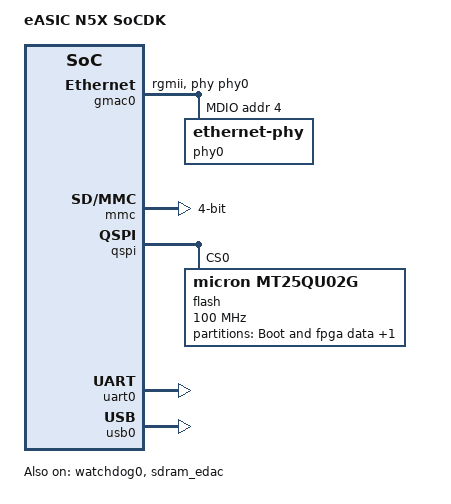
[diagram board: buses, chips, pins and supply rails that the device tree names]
// SPDX-License-Identifier:     GPL-2.0
/*
 * Copyright (C) 2021, Intel Corporation
 */
#include "socfpga_agilex.dtsi"

/ {
	model = "eASIC N5X SoCDK";
	compatible = "intel,n5x-socdk", "intel,socfpga-agilex";

	aliases {
		serial0 = &uart0;
		ethernet0 = &gmac0;
		ethernet1 = &gmac1;
		ethernet2 = &gmac2;
	};

	chosen {
		stdout-path = "serial0:115200n8";
	};

	memory@80000000 {
		device_type = "memory";
		/* We expect the bootloader to fill in the reg */
		reg = <0 0x80000000 0 0>;
	};

	soc {
		sdram_edac: memory-controller@f87f8000 {
			compatible = "snps,ddrc-3.80a";
			reg = <0xf87f8000 0x400>;
			interrupts = <0 175 4>;
			status = "okay";
		};
	};
};

&clkmgr {
	compatible = "intel,easic-n5x-clkmgr";
};

&gmac0 {
	status = "okay";
	phy-mode = "rgmii";
	phy-handle = <&phy0>;

	max-frame-size = <9000>;

	mdio0 {
		#address-cells = <1>;
		#size-cells = <0>;
		compatible = "snps,dwmac-mdio";
		phy0: ethernet-phy@0 {
			reg = <4>;

			txd0-skew-ps = <0>; /* -420ps */
			txd1-skew-ps = <0>; /* -420ps */
			txd2-skew-ps = <0>; /* -420ps */
			txd3-skew-ps = <0>; /* -420ps */
			rxd0-skew-ps = <420>; /* 0ps */
			rxd1-skew-ps = <420>; /* 0ps */
			rxd2-skew-ps = <420>; /* 0ps */
			rxd3-skew-ps = <420>; /* 0ps */
			txen-skew-ps = <0>; /* -420ps */
			txc-skew-ps = <900>; /* 0ps */
			rxdv-skew-ps = <420>; /* 0ps */
			rxc-skew-ps = <1680>; /* 780ps */
		};
	};
};

&mmc {
	status = "okay";
	cap-sd-highspeed;
	broken-cd;
	bus-width = <4>;
	clk-phase-sd-hs = <0>, <135>;
};

&osc1 {
	clock-frequency = <25000000>;
};

&qspi {
	status = "okay";
	flash@0 {
		#address-cells = <1>;
		#size-cells = <1>;
		compatible = "micron,mt25qu02g", "jedec,spi-nor";
		reg = <0>;
		spi-max-frequency = <100000000>;

		m25p,fast-read;
		cdns,page-size = <256>;
		cdns,block-size = <16>;
		cdns,read-delay = <2>;
		cdns,tshsl-ns = <50>;
		cdns,tsd2d-ns = <50>;
		cdns,tchsh-ns = <4>;
		cdns,tslch-ns = <4>;

		partitions {
			compatible = "fixed-partitions";
			#address-cells = <1>;
			#size-cells = <1>;

			qspi_boot: partition@0 {
				label = "Boot and fpga data";
				reg = <0x0 0x03FE0000>;
			};

			qspi_rootfs: partition@3fe0000 {
				label = "Root Filesystem - JFFS2";
				reg = <0x03FE0000 0x0C020000>;
			};
		};
	};
};

&uart0 {
	status = "okay";
};

&usb0 {
	status = "okay";
	disable-over-current;
};

&watchdog0 {
	status = "okay";
};

&temp_volt {
	voltage {
		#address-cells = <1>;
		#size-cells = <0>;
		input@2 {
			label = "0.8V VCC";
			reg = <2>;
		};

		input@3 {
			label = "1.8V VCCIO_SDM";
			reg = <3>;
		};

		input@4 {
			label = "1.8V VCCPT";
			reg = <4>;
		};

		input@5 {
			label = "1.2V VCCCRCORE";
			reg = <5>;
		};

		input@6 {
			label = "0.9V VCCH";
			reg = <6>;
		};

		input@7 {
			label = "0.8V VCCL";
			reg = <7>;
		};
	};

	temperature {
		#address-cells = <1>;
		#size-cells = <0>;

		input@0 {
			label = "Main Die SDM";
			reg = <0x0>;
		};

		input@10001 {
			label = "Main Die corner bottom left 1";
			reg = <0x10001>;
		};

		input@10002 {
			label = "Main Die corner bottom left 1";
			reg = <0x10002>;
		};

		input@20001 {
			label = "Main Die corner top left 1";
			reg = <0x20001>;
		};

		input@20002 {
			label = "Main Die corner top left 2";
			reg = <0x20002>;
		};

		input@30001 {
			label = "Main Die corner bottom right 1";
			reg = <0x30001>;
		};

		input@30002 {
			label = "Main Die corner bottom right 2";
			reg = <0x30002>;
		};

		input@40001 {
			label = "Main Die corner top right HPS 1";
			reg = <0x40001>;
		};

		input@40002 {
			label = "Main Die corner bottom right";
			reg = <0x40002>;
		};
	};
};
